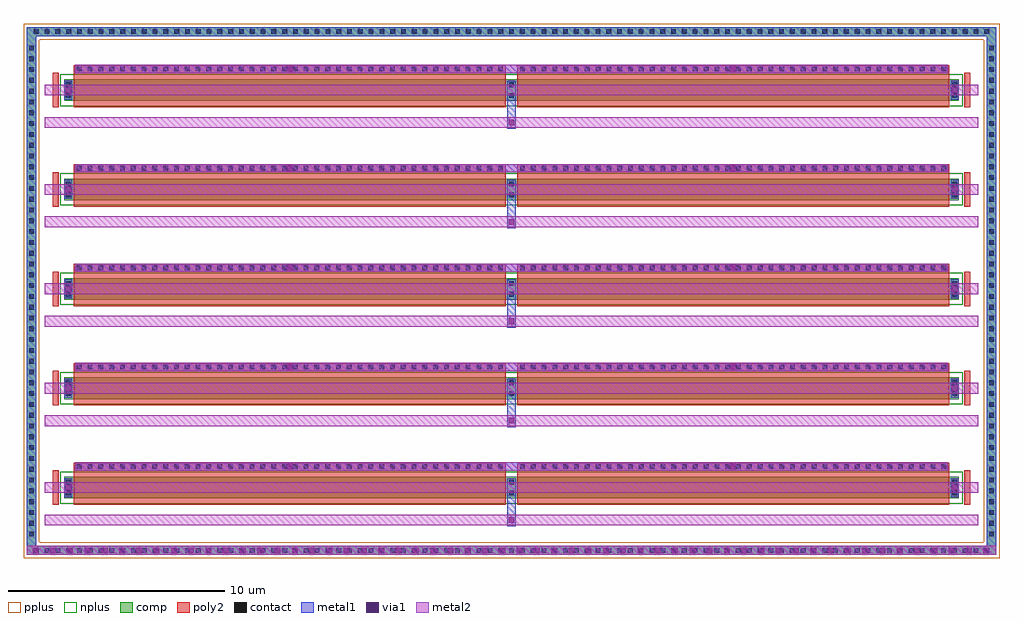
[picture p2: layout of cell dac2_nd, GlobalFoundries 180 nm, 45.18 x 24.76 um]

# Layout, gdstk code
import gdstk
lib = gdstk.Library(unit=1e-6, precision=1e-09)
def R(c, l, rs):  # rectangles x0, y0, x1, y1
    for r in rs: c.add(gdstk.rectangle(r[:2], r[2:], *l))
def A(c, l, x, y, w, h, nx, ny, dx, dy):  # array of equal rectangles
    R(c, l, [(x+i*dx, y+j*dy, x+i*dx+w, y+j*dy+h) for i in range(nx) for j in range(ny)])
comp = (22, 0)
poly2 = (30, 0)
pplus = (31, 0)
nplus = (32, 0)
contact = (33, 0)
metal1 = (34, 0)
via1 = (35, 0)
metal2 = (36, 0)

dac2_nd = lib.new_cell('dac2_nd')
A(dac2_nd, comp, 1.72, 2.62, 41.42, 1, 1, 5, 0, 4.6)
R(dac2_nd, comp, [(0,0,44.86,0.42), (0,0,0.42,24.44), (44.44,0,44.86,24.44), (0,24.02,44.86,24.44)])
A(dac2_nd, poly2, 1.2, 2.32, 0.28, 1.6, 1, 5, 0, 4.6)
A(dac2_nd, poly2, 2.17, 2.32, 20, 1.96, 1, 5, 0, 4.6)
A(dac2_nd, poly2, 22.69, 2.32, 20, 1.96, 1, 5, 0, 4.6)
A(dac2_nd, poly2, 43.38, 2.32, 0.28, 1.6, 1, 5, 0, 4.6)
R(dac2_nd, pplus, [(-0.16,-0.16,45.02,0.58), (-0.16,-0.16,0.58,24.6), (44.28,-0.16,45.02,24.6), (-0.16,23.86,45.02,24.6)])
A(dac2_nd, nplus, 1.54, 2.38, 41.78, 1.48, 1, 5, 0, 4.6)
A(dac2_nd, contact, 0.32, 0.1, 0.22, 0.22, 89, 2, 0.5, 24.02)
A(dac2_nd, contact, 0.1, 0.86, 0.22, 0.22, 1, 46, 0, 0.5)
A(dac2_nd, contact, 44.54, 0.86, 0.22, 0.22, 1, 46, 0, 0.5)
A(dac2_nd, contact, 1.8, 2.76, 0.22, 0.22, 3, 2, 20.52, 0.5)
A(dac2_nd, contact, 2.31, 3.99, 0.22, 0.22, 40, 5, 0.5, 4.6)
A(dac2_nd, contact, 22.83, 3.99, 0.22, 0.22, 40, 5, 0.5, 4.6)
A(dac2_nd, contact, 1.8, 7.36, 0.22, 0.22, 3, 2, 20.52, 0.5)
A(dac2_nd, contact, 1.8, 11.96, 0.22, 0.22, 3, 2, 20.52, 0.5)
A(dac2_nd, contact, 1.8, 16.56, 0.22, 0.22, 3, 2, 20.52, 0.5)
A(dac2_nd, contact, 1.8, 21.16, 0.22, 0.22, 3, 2, 20.52, 0.5)
A(dac2_nd, metal1, 22.24, 1.32, 0.38, 2.24, 1, 5, 0, 4.6)
A(dac2_nd, metal1, 1.72, 2.68, 0.38, 0.88, 1, 5, 0, 4.6)
A(dac2_nd, metal1, 42.76, 2.68, 0.38, 0.88, 1, 5, 0, 4.6)
A(dac2_nd, metal1, 2.23, 3.91, 40.4, 0.38, 1, 5, 0, 4.6)
R(dac2_nd, metal1, [(0,0,44.86,0.42), (0,0,0.42,24.44), (44.44,0,44.86,24.44), (0,24.02,44.86,24.44)])
A(dac2_nd, via1, 0.27, 0.08, 0.26, 0.26, 56, 1, 0.8, 0)
A(dac2_nd, via1, 22.3, 1.49, 0.26, 0.26, 1, 5, 0, 4.6)
A(dac2_nd, via1, 1.78, 2.99, 0.26, 0.26, 1, 5, 0, 4.6)
A(dac2_nd, via1, 42.82, 2.99, 0.26, 0.26, 1, 5, 0, 4.6)
A(dac2_nd, via1, 12.04, 3.97, 0.26, 0.26, 1, 5, 0, 4.6)
A(dac2_nd, via1, 32.56, 3.97, 0.26, 0.26, 1, 5, 0, 4.6)
A(dac2_nd, metal2, 2.23, 3.91, 40.4, 0.38, 1, 5, 0, 4.6)
R(dac2_nd, metal2, [(0,0,44.86,0.42), (0.82,1.37,44.04,1.87), (0.82,2.87,44.04,3.37), (0.82,5.97,44.04,6.47), (0.82,7.47,44.04,7.97), (0.82,10.57,44.04,11.07), (0.82,12.07,44.04,12.57), (0.82,15.17,44.04,15.67), (0.82,16.67,44.04,17.17), (0.82,19.77,44.04,20.27), (0.82,21.27,44.04,21.77)])

lib.write_gds('dac2_nd.gds')
